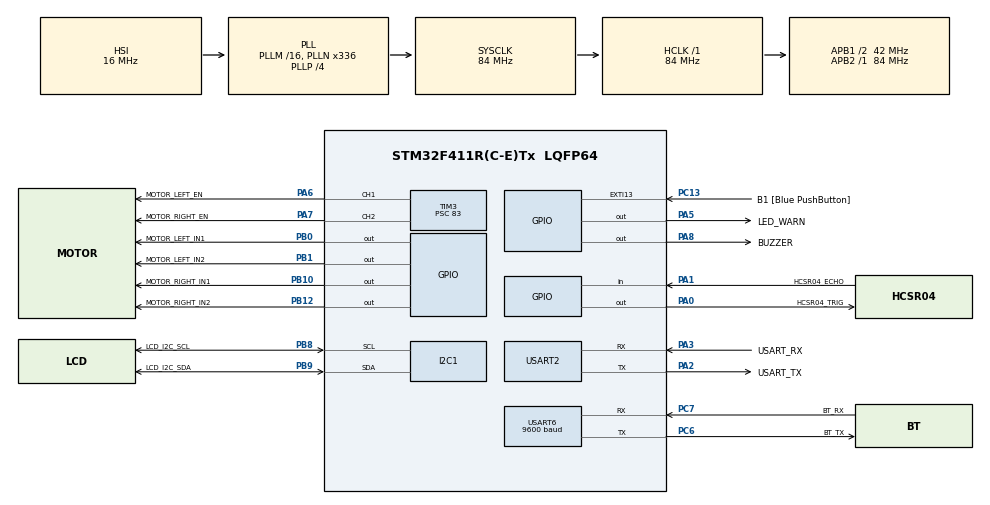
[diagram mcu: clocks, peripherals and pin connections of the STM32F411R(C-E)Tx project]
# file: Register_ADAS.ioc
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Mcu.Family=STM32F4
Mcu.Name=STM32F411R(C-E)Tx
Mcu.Package=LQFP64
NVIC.PriorityGroup=NVIC_PRIORITYGROUP_0
PA0-WKUP.GPIO_Label=HCSR04_TRIG
PA0-WKUP.Signal=GPIO_Output
PA1.GPIO_Label=HCSR04_ECHO
PA1.Signal=GPIO_Input
PA13.GPIO_Label=TMS
PA13.Mode=Serial_Wire
PA13.Signal=SYS_JTMS-SWDIO
PA14.GPIO_Label=TCK
PA14.Mode=Serial_Wire
PA14.Signal=SYS_JTCK-SWCLK
PA2.GPIO_Label=USART_TX
PA2.Mode=Asynchronous
PA2.Signal=USART2_TX
PA3.GPIO_Label=USART_RX
PA3.Mode=Asynchronous
PA3.Signal=USART2_RX
PA5.GPIO_Label=LED_WARN
PA5.Signal=GPIO_Output
PA6.GPIO_Label=MOTOR_LEFT_EN
PA6.Signal=S_TIM3_CH1
PA7.GPIO_Label=MOTOR_RIGHT_EN
PA7.Signal=S_TIM3_CH2
PA8.GPIO_Label=BUZZER
PA8.Signal=GPIO_Output
PB0.GPIO_Label=MOTOR_LEFT_IN1
PB0.Signal=GPIO_Output
PB1.GPIO_Label=MOTOR_LEFT_IN2
PB1.Signal=GPIO_Output
PB10.GPIO_Label=MOTOR_RIGHT_IN1
PB10.Signal=GPIO_Output
PB12.GPIO_Label=MOTOR_RIGHT_IN2
PB12.Signal=GPIO_Output
PB3.GPIO_Label=SWO
PB3.Signal=SYS_JTDO-SWO
PB8.GPIO_Label=LCD_I2C_SCL
PB8.Mode=I2C
PB8.Signal=I2C1_SCL
PB9.GPIO_Label=LCD_I2C_SDA
PB9.Mode=I2C
PB9.Signal=I2C1_SDA
PC13-ANTI_TAMP.GPIO_Label=B1 [Blue PushButton]
PC13-ANTI_TAMP.GPIO_ModeDefaultEXTI=GPIO_MODE_IT_FALLING
PC13-ANTI_TAMP.Signal=GPXTI13
PC14-OSC32_IN.Mode=LSE-External-Oscillator
PC14-OSC32_IN.Signal=RCC_OSC32_IN
PC15-OSC32_OUT.Mode=LSE-External-Oscillator
PC15-OSC32_OUT.Signal=RCC_OSC32_OUT
PC6.GPIO_Label=BT_TX
PC6.Mode=Asynchronous
PC6.Signal=USART6_TX
PC7.GPIO_Label=BT_RX
PC7.Mode=Asynchronous
PC7.Signal=USART6_RX
PH0\ -\ OSC_IN.Mode=HSE-External-Clock-Source
PH0\ -\ OSC_IN.Signal=RCC_OSC_IN
PH1\ -\ OSC_OUT.Mode=HSE-External-Clock-Source
PH1\ -\ OSC_OUT.Signal=RCC_OSC_OUT
ProjectManager.HeapSize=0x200
ProjectManager.StackSize=0x400
ProjectManager.TargetToolchain=STM32CubeIDE
RCC.48MHZClocksFreq_Value=84000000
RCC.AHBFreq_Value=84000000
RCC.APB1CLKDivider=RCC_HCLK_DIV2
RCC.APB1Freq_Value=42000000
RCC.APB1TimFreq_Value=84000000
RCC.APB2Freq_Value=84000000
RCC.APB2TimFreq_Value=84000000
RCC.CortexFreq_Value=84000000
RCC.FLatency-AdvancedSettings=FLASH_LATENCY_2
RCC.HCLKFreq_Value=84000000
RCC.HSE_VALUE=8000000
RCC.HSI_VALUE=16000000
RCC.PLLN=336
RCC.PLLP=RCC_PLLP_DIV4
RCC.SYSCLKFreq_VALUE=84000000
RCC.SYSCLKSource=RCC_SYSCLKSOURCE_PLLCLK
RCC.VCOOutputFreq_Value=336000000
SH.S_TIM3_CH1.0=TIM3_CH1,PWM Generation1 CH1
SH.S_TIM3_CH2.0=TIM3_CH2,PWM Generation2 CH2
TIM3.Channel-PWM\ Generation1\ CH1=TIM_CHANNEL_1
TIM3.Channel-PWM\ Generation2\ CH2=TIM_CHANNEL_2
TIM3.Period=999
TIM3.Prescaler=83
USART2.VirtualMode=VM_ASYNC
USART6.BaudRate=9600
USART6.VirtualMode=VM_ASYNC
VP_TIM3_VS_ClockSourceINT.Mode=Internal
board=NUCLEO-F411RE

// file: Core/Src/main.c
/* USER CODE BEGIN Header */
/**
  ******************************************************************************
  * @file           : main.c
  * @brief          : Main program body
  ******************************************************************************
  * @attention
  *
  * Copyright (c) 2026 STMicroelectronics.
  * All rights reserved.
  *
  * This software is licensed under terms that can be found in the LICENSE file
  * in the root directory of this software component.
  * If no LICENSE file comes with this software, it is provided AS-IS.
  *
  ******************************************************************************
  */
/* USER CODE END Header */
#include "main.h"
#include "i2c.h"
#include "tim.h"
#include "usart.h"
#include "gpio.h"

/* USER CODE BEGIN Includes */
#include "hcsr04.h"
#include "led.h"
#include "buzzer.h"
#include <stdio.h>
#include "motor.h"
#include "lcd_i2c.h"

/* USER CODE END Includes */

void SystemClock_Config(void);

/* USER CODE BEGIN 0 */
/* USER CODE BEGIN 0 */

int __io_putchar(int ch)
{
    HAL_UART_Transmit(&huart2, (uint8_t *)&ch, 1, HAL_MAX_DELAY);
    return ch;
}

/* USER CODE END 0 */

int main(void)
{

  /* MCU Configuration--------------------------------------------------------*/

  /* Reset of all peripherals, Initializes the Flash interface and the Systick. */
  HAL_Init();

  /* Configure the system clock */
  SystemClock_Config();

  /* Initialize all configured peripherals */
  MX_GPIO_Init();
  MX_USART2_UART_Init();
  MX_I2C1_Init();
  MX_TIM3_Init();
  MX_USART6_UART_Init();
  /* USER CODE BEGIN 2 */
  Motor_Init();
  HCSR04_Init();
  LCD_Init();

  LCD_Clear();

  LCD_SetCursor(0, 0);
  LCD_Print("ADAS System");
  LCD_SetCursor(0, 1);
  LCD_Print("Starting...");
  HAL_Delay(1000);

  LCD_Clear();

  float distance;
  const float speed_ms = 0.7f;
  const float reaction_time = 0.6f;
  const float brake_accel = 1.5f;

  uint32_t command_timer = 0;

  float d_safe;

  char buffer[17];

  uint8_t bt_data;
  char command = 'X';
  /* USER CODE END 2 */

  /* Infinite loop */
  /* USER CODE BEGIN WHILE */
  while (1)
    {
	  // Nhận dữ liệu Bluetooth

	  if (HAL_UART_Receive(&huart6, &bt_data, 1, 10) == HAL_OK)
	  {
	      command = bt_data;

	      command_timer = HAL_GetTick();

	      printf("CMD: %c\r\n", command);
	  }

	  if (HAL_GetTick() - command_timer > 300)
	  {
	      command = 'X';
	  }

        // Đọc khoảng cách
        distance = HCSR04_Read();

        //Tính khoảng cách an toàn
        d_safe = (speed_ms * reaction_time)
                  + ((speed_ms * speed_ms) / (2.0f * brake_accel));

           d_safe *= 100.0f; // đổi sang cm

        // Trường hợp lỗi cảm biến
        if (distance < 0)
        {
            printf("Sensor Error\r\n");

            LCD_SetCursor(0, 0);
            LCD_Print("Sensor Error    ");

            LCD_SetCursor(0, 1);
            LCD_Print("Check HC-SR04   ");

            LED_Off();
            Buzzer_Off();
            Motor_Stop();

            HAL_Delay(200);
            continue;
        }

        // UART Debug
        printf("Distance = %.2f cm | Safe = %.2f cm\r\n", distance, d_safe);

        // =========================
        // LCD dòng 1: khoảng cách
        // =========================
        snprintf(buffer, sizeof(buffer), "D:%3.0f S:%3.0f", distance, d_safe);

        LCD_SetCursor(0, 0);
        LCD_Print("                ");   // xóa dòng

        LCD_SetCursor(0, 0);
        LCD_Print(buffer);

        // SAFE

        if (distance > d_safe + 45.0f)
        {
            LED_Off();
            Buzzer_Off();

            LCD_SetCursor(0,1);
            LCD_Print("SAFE            ");

            switch(command)
                    {
                        case 'W':
                        case 'w':

                            Motor_Forward();
                            Motor_SetSpeed(70, 70);

                            break;

                        case 'S':
                        case 's':

                            Motor_Backward();
                            Motor_SetSpeed(70, 70);

                            break;

                        case 'A':
                        case 'a':

                        	Motor_TurnLeft();

                            break;

                        case 'D':
                        case 'd':

                        	Motor_TurnRight();

                            break;

                        case 'X':
                        case 'x':

                            Motor_Stop();

                            break;

                        default:

                            Motor_Stop();

                            break;
                    }
                }

        // WARNING

        else if (distance > d_safe)
        {
        	LED_On();
        	Buzzer_On();
        	HAL_Delay(50);
        	Buzzer_Off();

            LCD_SetCursor(0,1);
            LCD_Print("WARNING         ");

            // Giảm tốc nhưng vẫn điều khiển được
                    switch(command)
                    {
                        case 'W':
                        case 'w':

                            Motor_Forward();
                            Motor_SetSpeed(45,45);

                            break;

                        case 'S':
                        case 's':

                            Motor_Backward();
                            Motor_SetSpeed(45,45);

                            break;

                        case 'A':
                        case 'a':

                        	Motor_TurnLeft();

                            break;

                        case 'D':
                        case 'd':

                        	Motor_TurnRight();

                            break;

                        default:

                            Motor_Stop();

                            break;
                    }
        }

        // DANGER

        else
        {
        	LED_Toggle();

            Buzzer_On();

            LCD_SetCursor(0,1);
            LCD_Print("DANGER          ");

            switch(command)
                {
                    // CẤM TIẾN

                    case 'W':
                    case 'w':

                        Motor_Stop();

                        break;

                    // CHO PHÉP LÙI

                    case 'S':
                    case 's':

                        Motor_Backward();
                        Motor_SetSpeed(45,45);

                        break;

                    // RẼ TRÁI

                    case 'A':
                    case 'a':

                        Motor_Forward();

                        Motor_SetLeftSpeed(20);
                        Motor_SetRightSpeed(45);

                        break;

                    // RẼ PHẢI

                    case 'D':
                    case 'd':

                        Motor_Forward();
                        Motor_SetLeftSpeed(45);
                        Motor_SetRightSpeed(20);

                        break;

                    // STOP

                    case 'X':
                    case 'x':

                        Motor_Stop();

                        break;

                    // DEFAULT

                    default:

                        Motor_Stop();

                        break;
                }
        }

        HAL_Delay(10);
    }
    /* USER CODE END WHILE */

}

void SystemClock_Config(void)
{
  RCC_OscInitTypeDef RCC_OscInitStruct = {0};
  RCC_ClkInitTypeDef RCC_ClkInitStruct = {0};

  /** Configure the main internal regulator output voltage
  */
  __HAL_RCC_PWR_CLK_ENABLE();
  __HAL_PWR_VOLTAGESCALING_CONFIG(PWR_REGULATOR_VOLTAGE_SCALE1);

  /** Initializes the RCC Oscillators according to the specified parameters
  * in the RCC_OscInitTypeDef structure.
  */
  RCC_OscInitStruct.OscillatorType = RCC_OSCILLATORTYPE_HSI;
  RCC_OscInitStruct.HSIState = RCC_HSI_ON;
  RCC_OscInitStruct.HSICalibrationValue = RCC_HSICALIBRATION_DEFAULT;
  RCC_OscInitStruct.PLL.PLLState = RCC_PLL_ON;
  RCC_OscInitStruct.PLL.PLLSource = RCC_PLLSOURCE_HSI;
  RCC_OscInitStruct.PLL.PLLM = 16;
  RCC_OscInitStruct.PLL.PLLN = 336;
  RCC_OscInitStruct.PLL.PLLP = RCC_PLLP_DIV4;
  RCC_OscInitStruct.PLL.PLLQ = 4;
  if (HAL_RCC_OscConfig(&RCC_OscInitStruct) != HAL_OK)
  {
    Error_Handler();
  }

  /** Initializes the CPU, AHB and APB buses clocks
  */
  RCC_ClkInitStruct.ClockType = RCC_CLOCKTYPE_HCLK|RCC_CLOCKTYPE_SYSCLK
                              |RCC_CLOCKTYPE_PCLK1|RCC_CLOCKTYPE_PCLK2;
  RCC_ClkInitStruct.SYSCLKSource = RCC_SYSCLKSOURCE_PLLCLK;
  RCC_ClkInitStruct.AHBCLKDivider = RCC_SYSCLK_DIV1;
  RCC_ClkInitStruct.APB1CLKDivider = RCC_HCLK_DIV2;
  RCC_ClkInitStruct.APB2CLKDivider = RCC_HCLK_DIV1;

  if (HAL_RCC_ClockConfig(&RCC_ClkInitStruct, FLASH_LATENCY_2) != HAL_OK)
  {
    Error_Handler();
  }
}

void Error_Handler(void)
{
  __disable_irq();
  while (1)
  {
  }
}
